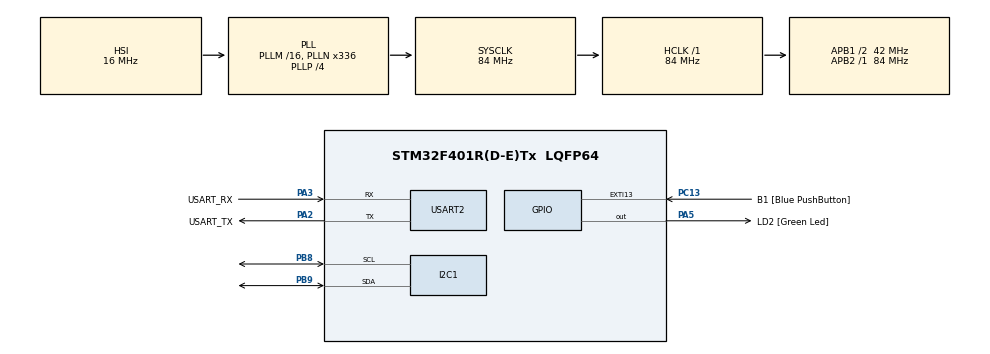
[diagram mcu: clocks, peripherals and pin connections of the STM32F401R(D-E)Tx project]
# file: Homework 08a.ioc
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Dma.I2C1_RX.0.Direction=DMA_PERIPH_TO_MEMORY
Dma.I2C1_RX.0.FIFOMode=DMA_FIFOMODE_DISABLE
Dma.I2C1_RX.0.Instance=DMA1_Stream0
Dma.I2C1_RX.0.MemDataAlignment=DMA_MDATAALIGN_BYTE
Dma.I2C1_RX.0.MemInc=DMA_MINC_ENABLE
Dma.I2C1_RX.0.Mode=DMA_NORMAL
Dma.I2C1_RX.0.PeriphDataAlignment=DMA_PDATAALIGN_BYTE
Dma.I2C1_RX.0.PeriphInc=DMA_PINC_DISABLE
Dma.I2C1_RX.0.Priority=DMA_PRIORITY_HIGH
Dma.I2C1_TX.1.Direction=DMA_MEMORY_TO_PERIPH
Dma.I2C1_TX.1.FIFOMode=DMA_FIFOMODE_DISABLE
Dma.I2C1_TX.1.Instance=DMA1_Stream7
Dma.I2C1_TX.1.MemDataAlignment=DMA_MDATAALIGN_BYTE
Dma.I2C1_TX.1.MemInc=DMA_MINC_ENABLE
Dma.I2C1_TX.1.Mode=DMA_NORMAL
Dma.I2C1_TX.1.PeriphDataAlignment=DMA_PDATAALIGN_BYTE
Dma.I2C1_TX.1.PeriphInc=DMA_PINC_DISABLE
Dma.I2C1_TX.1.Priority=DMA_PRIORITY_HIGH
Dma.Request0=I2C1_RX
Dma.Request1=I2C1_TX
Dma.Request2=USART2_TX
Dma.USART2_TX.2.Direction=DMA_MEMORY_TO_PERIPH
Dma.USART2_TX.2.FIFOMode=DMA_FIFOMODE_DISABLE
Dma.USART2_TX.2.Instance=DMA1_Stream6
Dma.USART2_TX.2.MemDataAlignment=DMA_MDATAALIGN_BYTE
Dma.USART2_TX.2.MemInc=DMA_MINC_ENABLE
Dma.USART2_TX.2.Mode=DMA_NORMAL
Dma.USART2_TX.2.PeriphDataAlignment=DMA_PDATAALIGN_BYTE
Dma.USART2_TX.2.PeriphInc=DMA_PINC_DISABLE
Dma.USART2_TX.2.Priority=DMA_PRIORITY_LOW
Mcu.Family=STM32F4
Mcu.Name=STM32F401R(D-E)Tx
Mcu.Package=LQFP64
NVIC.DMA1_Stream0_IRQn=true\:0\:0\:false\:false\:true\:false\:true\:true
NVIC.DMA1_Stream6_IRQn=true\:0\:0\:false\:false\:true\:false\:true\:true
NVIC.DMA1_Stream7_IRQn=true\:0\:0\:false\:false\:true\:false\:true\:true
NVIC.I2C1_ER_IRQn=true\:0\:0\:false\:false\:true\:true\:true\:true
NVIC.I2C1_EV_IRQn=true\:0\:0\:false\:false\:true\:true\:true\:true
NVIC.PriorityGroup=NVIC_PRIORITYGROUP_0
NVIC.TIM2_IRQn=true\:0\:0\:false\:false\:true\:true\:true\:true
NVIC.USART2_IRQn=true\:0\:0\:false\:false\:true\:true\:true\:true
PA13.GPIO_Label=TMS
PA13.Mode=Serial_Wire
PA13.Signal=SYS_JTMS-SWDIO
PA14.GPIO_Label=TCK
PA14.Mode=Serial_Wire
PA14.Signal=SYS_JTCK-SWCLK
PA2.GPIO_Label=USART_TX
PA2.GPIO_Mode=GPIO_MODE_AF_PP
PA2.GPIO_PuPd=GPIO_NOPULL
PA2.GPIO_Speed=GPIO_SPEED_FREQ_LOW
PA2.Mode=Asynchronous
PA2.Signal=USART2_TX
PA3.GPIO_Label=USART_RX
PA3.GPIO_Mode=GPIO_MODE_AF_PP
PA3.GPIO_PuPd=GPIO_NOPULL
PA3.GPIO_Speed=GPIO_SPEED_FREQ_LOW
PA3.Mode=Asynchronous
PA3.Signal=USART2_RX
PA5.GPIO_Label=LD2 [Green Led]
PA5.GPIO_Mode=GPIO_MODE_OUTPUT_PP
PA5.GPIO_PuPd=GPIO_NOPULL
PA5.GPIO_Speed=GPIO_SPEED_FREQ_LOW
PA5.Signal=GPIO_Output
PB3.GPIO_Label=SWO
PB3.Signal=SYS_JTDO-SWO
PB8.GPIO_Pu=GPIO_PULLUP
PB8.Mode=I2C
PB8.Signal=I2C1_SCL
PB9.GPIO_Pu=GPIO_PULLUP
PB9.Mode=I2C
PB9.Signal=I2C1_SDA
PC13-ANTI_TAMP.GPIO_Label=B1 [Blue PushButton]
PC13-ANTI_TAMP.GPIO_ModeDefaultEXTI=GPIO_MODE_IT_FALLING
PC13-ANTI_TAMP.GPIO_PuPd=GPIO_NOPULL
PC13-ANTI_TAMP.Signal=GPXTI13
PC14-OSC32_IN.Mode=LSE-External-Oscillator
PC14-OSC32_IN.Signal=RCC_OSC32_IN
PC15-OSC32_OUT.Mode=LSE-External-Oscillator
PC15-OSC32_OUT.Signal=RCC_OSC32_OUT
PH0\ -\ OSC_IN.Mode=HSE-External-Clock-Source
PH0\ -\ OSC_IN.Signal=RCC_OSC_IN
PH1\ -\ OSC_OUT.Mode=HSE-External-Clock-Source
PH1\ -\ OSC_OUT.Signal=RCC_OSC_OUT
ProjectManager.HeapSize=0x200
ProjectManager.StackSize=0x400
ProjectManager.TargetToolchain=STM32CubeIDE
RCC.48MHZClocksFreq_Value=48000000
RCC.AHBFreq_Value=84000000
RCC.APB1CLKDivider=RCC_HCLK_DIV2
RCC.APB1Freq_Value=42000000
RCC.APB1TimFreq_Value=84000000
RCC.APB2Freq_Value=84000000
RCC.APB2TimFreq_Value=84000000
RCC.CortexFreq_Value=84000000
RCC.HCLKFreq_Value=84000000
RCC.HSE_VALUE=8000000
RCC.HSI_VALUE=16000000
RCC.PLLN=336
RCC.PLLP=RCC_PLLP_DIV4
RCC.PLLQ=7
RCC.SYSCLKFreq_VALUE=84000000
RCC.SYSCLKSource=RCC_SYSCLKSOURCE_PLLCLK
RCC.VCOOutputFreq_Value=336000000
TIM2.Period=19999
TIM2.Prescaler=8399
USART2.VirtualMode=VM_ASYNC
VP_TIM2_VS_ClockSourceINT.Mode=Internal
board=NUCLEO-F401RE

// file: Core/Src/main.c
/* USER CODE BEGIN Header */
/**
  ******************************************************************************
  * @file           : main.c
  * @brief          : Main program body
  ******************************************************************************
  * @attention
  *
  * Copyright (c) 2024 STMicroelectronics.
  * All rights reserved.
  *
  * This software is licensed under terms that can be found in the LICENSE file
  * in the root directory of this software component.
  * If no LICENSE file comes with this software, it is provided AS-IS.
  *
  ******************************************************************************
  */
/* USER CODE END Header */
#include "main.h"

/* USER CODE BEGIN Includes */
#include <string.h>
/* USER CODE END Includes */

/* USER CODE BEGIN PD */

#define CTRL_REG1 0x20
#define CTRL_REG2 0x21
#define CTRL_REG4 0x23
#define X_REG     0b10101001

#define LENGTH 5

#define ENABLE_CHANNEL_MODE 0b00010111
#define DISABLE_HIGH_PASS   0b00000000
#define CHANGE_FSR 			0b00000000

// REGISTERS FOR LIS2DE
#define ADDRESS_WRITE 0b01010000
#define ADDRESS_READ  0b01010001
// REGISTERS FOR LIS2DE12
//#define ADDRESS_WRITE 0b00110000
//#define ADDRESS_READ  0b00110010

/* USER CODE END PD */

I2C_HandleTypeDef hi2c1;
DMA_HandleTypeDef hdma_i2c1_rx;
DMA_HandleTypeDef hdma_i2c1_tx;

TIM_HandleTypeDef htim2;

UART_HandleTypeDef huart2;
DMA_HandleTypeDef hdma_usart2_tx;

void SystemClock_Config(void);
static void MX_GPIO_Init(void);
static void MX_DMA_Init(void);
static void MX_USART2_UART_Init(void);
static void MX_I2C1_Init(void);
static void MX_TIM2_Init(void);

/* USER CODE BEGIN 0 */

int8_t buffer[LENGTH];
char str[100];

HAL_I2C_MasterTxCpltCallback(I2C_HandleTypeDef *hi2c){
	if(hi2c == &hi2c1){
		HAL_I2C_Master_Receive_DMA(&hi2c1, ADDRESS_READ, buffer, LENGTH);

	}
}

HAL_I2C_MasterRxCpltCallback(I2C_HandleTypeDef *hi2c){

	if(hi2c == &hi2c1){
		float acc_x = buffer[0] / 64.0;
		float acc_y = buffer[2] / 64.0;
		float acc_z = buffer[4] / 64.0;

		int len = snprintf(str, 100, "X: %+.2f Y: %+.2f Z: %+.2f\r\n", acc_x, acc_y, acc_z);
		HAL_UART_Transmit_DMA(&huart2, str, len);

	}
}

HAL_TIM_PeriodElapsedCallback(TIM_HandleTypeDef *htim){

	if(htim == &htim2){
		uint8_t start_reg = X_REG;

		HAL_I2C_Master_Transmit_DMA(&hi2c1, ADDRESS_WRITE, &start_reg, 1);
	}
}

/* USER CODE END 0 */

int main(void)
{

  /* MCU Configuration--------------------------------------------------------*/

  /* Reset of all peripherals, Initializes the Flash interface and the Systick. */
  HAL_Init();

  /* Configure the system clock */
  SystemClock_Config();

  /* Initialize all configured peripherals */
  MX_GPIO_Init();
  MX_DMA_Init();
  MX_USART2_UART_Init();
  MX_I2C1_Init();
  MX_TIM2_Init();
  /* USER CODE BEGIN 2 */

  uint8_t to_write[2];

  to_write[0] = CTRL_REG1;
  to_write[1] = ENABLE_CHANNEL_MODE;
  HAL_I2C_Master_Transmit(&hi2c1, ADDRESS_WRITE, to_write, 2, 100);

  to_write[0] = CTRL_REG2;
  to_write[1] = DISABLE_HIGH_PASS;
  HAL_I2C_Master_Transmit(&hi2c1, ADDRESS_WRITE, to_write, 2, 100);

  to_write[0] = CTRL_REG4;
  to_write[1] = CHANGE_FSR;
  HAL_I2C_Master_Transmit(&hi2c1, ADDRESS_WRITE, to_write, 2, 100);

  HAL_TIM_Base_Start_IT(&htim2);
  /* USER CODE END 2 */

  /* Infinite loop */
  while (1)
  {

  }
}

void SystemClock_Config(void)
{
  RCC_OscInitTypeDef RCC_OscInitStruct = {0};
  RCC_ClkInitTypeDef RCC_ClkInitStruct = {0};

  /** Configure the main internal regulator output voltage
  */
  __HAL_RCC_PWR_CLK_ENABLE();
  __HAL_PWR_VOLTAGESCALING_CONFIG(PWR_REGULATOR_VOLTAGE_SCALE2);

  /** Initializes the RCC Oscillators according to the specified parameters
  * in the RCC_OscInitTypeDef structure.
  */
  RCC_OscInitStruct.OscillatorType = RCC_OSCILLATORTYPE_HSI;
  RCC_OscInitStruct.HSIState = RCC_HSI_ON;
  RCC_OscInitStruct.HSICalibrationValue = RCC_HSICALIBRATION_DEFAULT;
  RCC_OscInitStruct.PLL.PLLState = RCC_PLL_ON;
  RCC_OscInitStruct.PLL.PLLSource = RCC_PLLSOURCE_HSI;
  RCC_OscInitStruct.PLL.PLLM = 16;
  RCC_OscInitStruct.PLL.PLLN = 336;
  RCC_OscInitStruct.PLL.PLLP = RCC_PLLP_DIV4;
  RCC_OscInitStruct.PLL.PLLQ = 7;
  if (HAL_RCC_OscConfig(&RCC_OscInitStruct) != HAL_OK)
  {
    Error_Handler();
  }

  /** Initializes the CPU, AHB and APB buses clocks
  */
  RCC_ClkInitStruct.ClockType = RCC_CLOCKTYPE_HCLK|RCC_CLOCKTYPE_SYSCLK
                              |RCC_CLOCKTYPE_PCLK1|RCC_CLOCKTYPE_PCLK2;
  RCC_ClkInitStruct.SYSCLKSource = RCC_SYSCLKSOURCE_PLLCLK;
  RCC_ClkInitStruct.AHBCLKDivider = RCC_SYSCLK_DIV1;
  RCC_ClkInitStruct.APB1CLKDivider = RCC_HCLK_DIV2;
  RCC_ClkInitStruct.APB2CLKDivider = RCC_HCLK_DIV1;

  if (HAL_RCC_ClockConfig(&RCC_ClkInitStruct, FLASH_LATENCY_2) != HAL_OK)
  {
    Error_Handler();
  }
}

static void MX_I2C1_Init(void)
{

  hi2c1.Instance = I2C1;
  hi2c1.Init.ClockSpeed = 100000;
  hi2c1.Init.DutyCycle = I2C_DUTYCYCLE_2;
  hi2c1.Init.OwnAddress1 = 0;
  hi2c1.Init.AddressingMode = I2C_ADDRESSINGMODE_7BIT;
  hi2c1.Init.DualAddressMode = I2C_DUALADDRESS_DISABLE;
  hi2c1.Init.OwnAddress2 = 0;
  hi2c1.Init.GeneralCallMode = I2C_GENERALCALL_DISABLE;
  hi2c1.Init.NoStretchMode = I2C_NOSTRETCH_DISABLE;
  if (HAL_I2C_Init(&hi2c1) != HAL_OK)
  {
    Error_Handler();
  }

}

static void MX_TIM2_Init(void)
{

  TIM_ClockConfigTypeDef sClockSourceConfig = {0};
  TIM_MasterConfigTypeDef sMasterConfig = {0};

  htim2.Instance = TIM2;
  htim2.Init.Prescaler = 8399;
  htim2.Init.CounterMode = TIM_COUNTERMODE_UP;
  htim2.Init.Period = 19999;
  htim2.Init.ClockDivision = TIM_CLOCKDIVISION_DIV1;
  htim2.Init.AutoReloadPreload = TIM_AUTORELOAD_PRELOAD_DISABLE;
  if (HAL_TIM_Base_Init(&htim2) != HAL_OK)
  {
    Error_Handler();
  }
  sClockSourceConfig.ClockSource = TIM_CLOCKSOURCE_INTERNAL;
  if (HAL_TIM_ConfigClockSource(&htim2, &sClockSourceConfig) != HAL_OK)
  {
    Error_Handler();
  }
  sMasterConfig.MasterOutputTrigger = TIM_TRGO_RESET;
  sMasterConfig.MasterSlaveMode = TIM_MASTERSLAVEMODE_DISABLE;
  if (HAL_TIMEx_MasterConfigSynchronization(&htim2, &sMasterConfig) != HAL_OK)
  {
    Error_Handler();
  }

}

static void MX_USART2_UART_Init(void)
{

  huart2.Instance = USART2;
  huart2.Init.BaudRate = 115200;
  huart2.Init.WordLength = UART_WORDLENGTH_8B;
  huart2.Init.StopBits = UART_STOPBITS_1;
  huart2.Init.Parity = UART_PARITY_NONE;
  huart2.Init.Mode = UART_MODE_TX_RX;
  huart2.Init.HwFlowCtl = UART_HWCONTROL_NONE;
  huart2.Init.OverSampling = UART_OVERSAMPLING_16;
  if (HAL_UART_Init(&huart2) != HAL_OK)
  {
    Error_Handler();
  }

}

static void MX_DMA_Init(void)
{

  /* DMA controller clock enable */
  __HAL_RCC_DMA1_CLK_ENABLE();

  /* DMA interrupt init */
  /* DMA1_Stream0_IRQn interrupt configuration */
  HAL_NVIC_SetPriority(DMA1_Stream0_IRQn, 0, 0);
  HAL_NVIC_EnableIRQ(DMA1_Stream0_IRQn);
  /* DMA1_Stream6_IRQn interrupt configuration */
  HAL_NVIC_SetPriority(DMA1_Stream6_IRQn, 0, 0);
  HAL_NVIC_EnableIRQ(DMA1_Stream6_IRQn);
  /* DMA1_Stream7_IRQn interrupt configuration */
  HAL_NVIC_SetPriority(DMA1_Stream7_IRQn, 0, 0);
  HAL_NVIC_EnableIRQ(DMA1_Stream7_IRQn);

}

static void MX_GPIO_Init(void)
{
  GPIO_InitTypeDef GPIO_InitStruct = {0};

  /* GPIO Ports Clock Enable */
  __HAL_RCC_GPIOC_CLK_ENABLE();
  __HAL_RCC_GPIOH_CLK_ENABLE();
  __HAL_RCC_GPIOA_CLK_ENABLE();
  __HAL_RCC_GPIOB_CLK_ENABLE();

  /*Configure GPIO pin Output Level */
  HAL_GPIO_WritePin(LD2_GPIO_Port, LD2_Pin, GPIO_PIN_RESET);

  /*Configure GPIO pin : B1_Pin */
  GPIO_InitStruct.Pin = B1_Pin;
  GPIO_InitStruct.Mode = GPIO_MODE_IT_FALLING;
  GPIO_InitStruct.Pull = GPIO_NOPULL;
  HAL_GPIO_Init(B1_GPIO_Port, &GPIO_InitStruct);

  /*Configure GPIO pin : LD2_Pin */
  GPIO_InitStruct.Pin = LD2_Pin;
  GPIO_InitStruct.Mode = GPIO_MODE_OUTPUT_PP;
  GPIO_InitStruct.Pull = GPIO_NOPULL;
  GPIO_InitStruct.Speed = GPIO_SPEED_FREQ_LOW;
  HAL_GPIO_Init(LD2_GPIO_Port, &GPIO_InitStruct);

}

void Error_Handler(void)
{
  __disable_irq();
  while (1)
  {
  }
}
